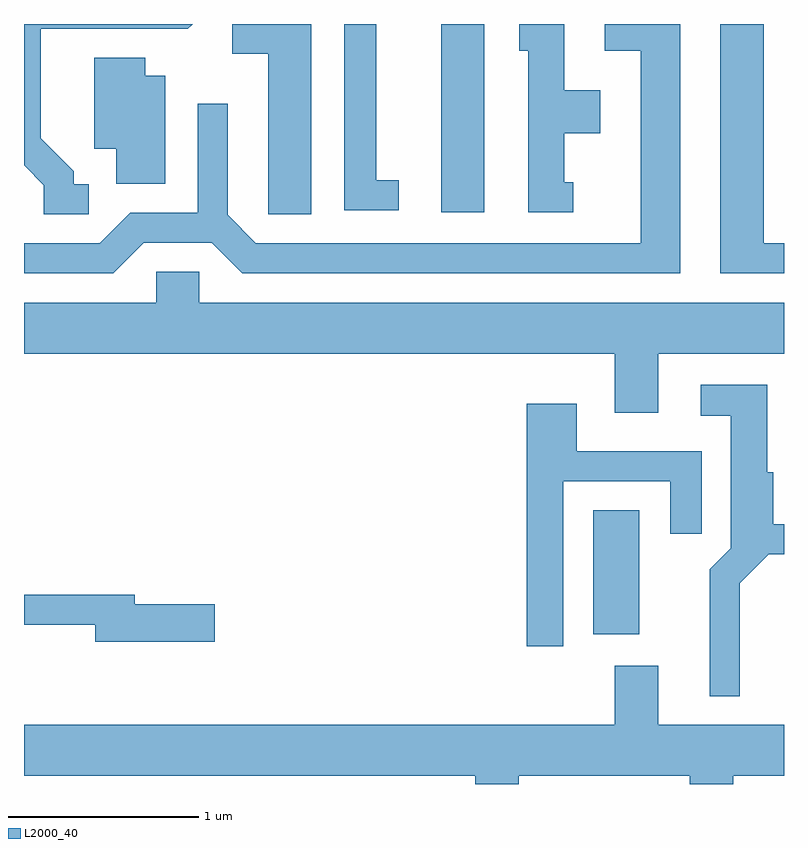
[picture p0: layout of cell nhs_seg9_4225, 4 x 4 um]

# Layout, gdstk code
import gdstk
lib = gdstk.Library(unit=1e-6, precision=1e-09)
def R(c, l, rs):  # rectangles x0, y0, x1, y1
    for r in rs: c.add(gdstk.rectangle(r[:2], r[2:], *l))
def P(c, l, *ps):  # polygons
    for p in ps: c.add(gdstk.Polygon(p, *l))
L2000_40 = (2000, 40)

nhs_seg9_4225 = lib.new_cell('nhs_seg9_4225')
R(nhs_seg9_4225, L2000_40, [(312.606,1999.221,312.849,1999.874), (311.806,2001.441,312.034,2002.432)])
P(nhs_seg9_4225, L2000_40, [(311.124,2002.432),(310.708,2002.432),(310.708,2002.276),(310.896,2002.276),(310.896,2001.431),(311.124,2001.431)],
  [(313.611,2001.279),(313.504,2001.279),(313.504,2002.432),(313.276,2002.432),(313.276,2001.121),(313.611,2001.121)],
  [(309.953,2001.589),(309.874,2001.589),(309.874,2001.657),(309.699,2001.832),(309.699,2002.406),(310.472,2002.406),(310.498,2002.432),(309.611,2002.432),(309.611,2001.689),(309.716,2001.584),(309.716,2001.431),(309.953,2001.431)],
  [(311.583,2001.609),(311.464,2001.609),(311.464,2002.432),(311.296,2002.432),(311.296,2001.451),(311.583,2001.451)],
  [(310.242,2001.281),(310.599,2001.281),(310.759,2001.121),(313.064,2001.121),(313.064,2002.432),(312.668,2002.432),(312.668,2002.291),(312.856,2002.291),(312.856,2001.279),(310.832,2001.279),(310.684,2001.427),(310.684,2002.013),(310.526,2002.013),(310.526,2001.439),(310.169,2001.439),(310.009,2001.279),(309.611,2001.279),(309.611,2001.121),(310.082,2001.121)],
  [(312.503,2001.599),(312.454,2001.599),(312.454,2001.856),(312.644,2001.856),(312.644,2002.084),(312.454,2002.084),(312.454,2002.432),(312.218,2002.432),(312.218,2002.291),(312.266,2002.291),(312.266,2001.441),(312.503,2001.441)],
  [(310.354,2002.159),(310.249,2002.159),(310.249,2002.254),(309.981,2002.254),(309.981,2001.776),(310.096,2001.776),(310.096,2001.591),(310.354,2001.591)],
  [(312.949,2000.696),(313.611,2000.696),(313.611,2000.964),(310.534,2000.964),(310.534,2001.129),(310.306,2001.129),(310.306,2000.964),(309.611,2000.964),(309.611,2000.696),(312.721,2000.696),(312.721,2000.386),(312.949,2000.386)],
  [(313.379,1999.489),(313.532,1999.641),(313.611,1999.641),(313.611,1999.799),(313.554,1999.799),(313.554,2000.074),(313.524,2000.074),(313.524,2000.534),(313.173,2000.534),(313.173,2000.371),(313.331,2000.371),(313.331,1999.672),(313.221,1999.562),(313.221,1998.893),(313.379,1998.893)],
  [(312.449,2000.026),(313.011,2000.026),(313.011,1999.748),(313.179,1999.748),(313.179,2000.184),(312.519,2000.184),(312.519,2000.434),(312.256,2000.434),(312.256,1999.156),(312.449,1999.156)],
  [(310.614,1999.379),(310.194,1999.379),(310.194,1999.429),(309.611,1999.429),(309.611,1999.271),(309.986,1999.271),(309.986,1999.181),(310.614,1999.181)],
  [(312.214,1998.476),(313.116,1998.476),(313.116,1998.432),(313.344,1998.432),(313.344,1998.476),(313.611,1998.476),(313.611,1998.744),(312.949,1998.744),(312.949,1999.054),(312.721,1999.054),(312.721,1998.744),(309.611,1998.744),(309.611,1998.476),(311.986,1998.476),(311.986,1998.432),(312.214,1998.432)])

lib.write_gds('nhs_seg9_4225.gds')
